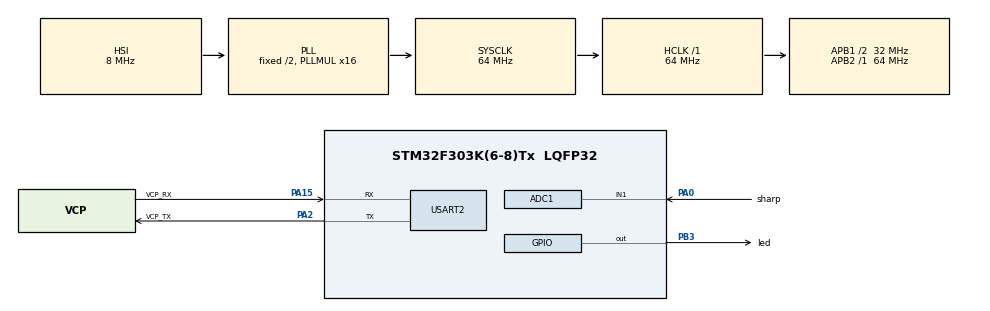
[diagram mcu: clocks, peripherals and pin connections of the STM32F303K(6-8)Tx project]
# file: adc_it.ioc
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ADC1.Channel-0\#ChannelRegularConversion=ADC_CHANNEL_1
ADC1.ClockPrescaler=ADC_CLOCK_ASYNC_DIV1
ADC1.ContinuousConvMode=DISABLE
ADC1.DMAContinuousRequests=DISABLE
ADC1.DataAlign=ADC_DATAALIGN_RIGHT
ADC1.DiscontinuousConvMode=DISABLE
ADC1.EOCSelection=ADC_EOC_SINGLE_CONV
ADC1.EnableAnalogWatchDog1=false
ADC1.EnableAnalogWatchDog2=false
ADC1.EnableAnalogWatchDog3=false
ADC1.EnableInjectedConversion=ENABLE
ADC1.EnableRegularConversion=ENABLE
ADC1.ExternalTrigConv=ADC_SOFTWARE_START
ADC1.ExternalTrigConvEdge=ADC_EXTERNALTRIGCONVEDGE_NONE
ADC1.InjNumberOfConversion=0
ADC1.LowPowerAutoWait=DISABLE
ADC1.NbrOfConversion=1
ADC1.NbrOfConversionFlag=1
ADC1.Offset-0\#ChannelRegularConversion=0
ADC1.OffsetNumber-0\#ChannelRegularConversion=ADC_OFFSET_NONE
ADC1.Overrun=ADC_OVR_DATA_OVERWRITTEN
ADC1.Rank-0\#ChannelRegularConversion=1
ADC1.Resolution=ADC_RESOLUTION_12B
ADC1.SamplingTime-0\#ChannelRegularConversion=ADC_SAMPLETIME_7CYCLES_5
ADC1.ScanConvMode=ADC_SCAN_DISABLE
ADC1.SubFamily=STM32F303x8
ADC1.master=1
FREERTOS.Tasks01=defaultTask,0,128,StartDefaultTask,Default,NULL,Dynamic,NULL,NULL;adc_control,-3,512,adcCmd,As weak,NULL,Dynamic,NULL,NULL
FREERTOS.configTOTAL_HEAP_SIZE=9216
Mcu.Family=STM32F3
Mcu.Name=STM32F303K(6-8)Tx
Mcu.Package=LQFP32
NVIC.ADC1_2_IRQn=true\:5\:0\:false\:false\:true\:true
NVIC.PriorityGroup=NVIC_PRIORITYGROUP_4
NVIC.TIM1_BRK_TIM15_IRQn=true\:0\:0\:false\:false\:true\:false
NVIC.TimeBase=TIM1_BRK_TIM15_IRQn
NVIC.TimeBaseIP=TIM15
PA0.GPIO_Label=sharp
PA0.Mode=IN1-Single-Ended
PA0.Signal=ADC1_IN1
PA13.GPIO_Label=SWDIO
PA13.Signal=SYS_JTMS-SWDIO
PA14.GPIO_Label=SWCLK
PA14.Signal=SYS_JTCK-SWCLK
PA15.GPIO_Label=VCP_RX
PA15.Mode=Asynchronous
PA15.Signal=USART2_RX
PA2.GPIO_Label=VCP_TX
PA2.Mode=Asynchronous
PA2.Signal=USART2_TX
PB3.GPIO_Label=led
PB3.Signal=GPIO_Output
PF0\ /\ OSC_IN.GPIO_Label=MCO
PF0\ /\ OSC_IN.Signal=RCC_OSC_IN
ProjectManager.HeapSize=0x200
ProjectManager.StackSize=0x400
ProjectManager.TargetToolchain=Makefile
RCC.AHBFreq_Value=64000000
RCC.APB1CLKDivider=RCC_HCLK_DIV2
RCC.APB1Freq_Value=32000000
RCC.APB1TimFreq_Value=64000000
RCC.APB2Freq_Value=64000000
RCC.APB2TimFreq_Value=64000000
RCC.CortexFreq_Value=64000000
RCC.HCLKFreq_Value=64000000
RCC.HSE_VALUE=8000000
RCC.HSI_VALUE=8000000
RCC.PLLMUL=RCC_PLL_MUL16
RCC.SYSCLKFreq_VALUE=64000000
RCC.SYSCLKSourceVirtual=RCC_SYSCLKSOURCE_PLLCLK
USART2.VirtualMode-Asynchronous=VM_ASYNC
USART2.WordLength=WORDLENGTH_8B
VP_FREERTOS_VS_ENABLE.Mode=Enabled
VP_SYS_VS_tim15.Mode=TIM15
board=NUCLEO-F303K8

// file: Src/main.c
/**
  ******************************************************************************
  * File Name          : main.c
  * Description        : Main program body
  ******************************************************************************
  * This notice applies to any and all portions of this file
  * that are not between comment pairs USER CODE BEGIN and
  * USER CODE END. Other portions of this file, whether
  * inserted by the user or by software development tools
  * are owned by their respective copyright owners.
  *
  * Copyright (c) 2017 STMicroelectronics International N.V.
  * All rights reserved.
  *
  * Redistribution and use in source and binary forms, with or without
  * modification, are permitted, provided that the following conditions are met:
  *
  * 1. Redistribution of source code must retain the above copyright notice,
  *    this list of conditions and the following disclaimer.
  * 2. Redistributions in binary form must reproduce the above copyright notice,
  *    this list of conditions and the following disclaimer in the documentation
  *    and/or other materials provided with the distribution.
  * 3. Neither the name of STMicroelectronics nor the names of other
  *    contributors to this software may be used to endorse or promote products
  *    derived from this software without specific written permission.
  * 4. This software, including modifications and/or derivative works of this
  *    software, must execute solely and exclusively on microcontroller or
  *    microprocessor devices manufactured by or for STMicroelectronics.
  * 5. Redistribution and use of this software other than as permitted under
  *    this license is void and will automatically terminate your rights under
  *    this license.
  *
  * THIS SOFTWARE IS PROVIDED BY STMICROELECTRONICS AND CONTRIBUTORS "AS IS"
  * AND ANY EXPRESS, IMPLIED OR STATUTORY WARRANTIES, INCLUDING, BUT NOT
  * LIMITED TO, THE IMPLIED WARRANTIES OF MERCHANTABILITY, FITNESS FOR A
  * PARTICULAR PURPOSE AND NON-INFRINGEMENT OF THIRD PARTY INTELLECTUAL PROPERTY
  * RIGHTS ARE DISCLAIMED TO THE FULLEST EXTENT PERMITTED BY LAW. IN NO EVENT
  * SHALL STMICROELECTRONICS OR CONTRIBUTORS BE LIABLE FOR ANY DIRECT, INDIRECT,
  * INCIDENTAL, SPECIAL, EXEMPLARY, OR CONSEQUENTIAL DAMAGES (INCLUDING, BUT NOT
  * LIMITED TO, PROCUREMENT OF SUBSTITUTE GOODS OR SERVICES; LOSS OF USE, DATA,
  * OR PROFITS; OR BUSINESS INTERRUPTION) HOWEVER CAUSED AND ON ANY THEORY OF
  * LIABILITY, WHETHER IN CONTRACT, STRICT LIABILITY, OR TORT (INCLUDING
  * NEGLIGENCE OR OTHERWISE) ARISING IN ANY WAY OUT OF THE USE OF THIS SOFTWARE,
  * EVEN IF ADVISED OF THE POSSIBILITY OF SUCH DAMAGE.
  *
  ******************************************************************************
  */
#include "main.h"
#include "stm32f3xx_hal.h"
#include "cmsis_os.h"

ADC_HandleTypeDef hadc1;

UART_HandleTypeDef huart2;

osThreadId defaultTaskHandle;
osThreadId adc_controlHandle;

/* USER CODE BEGIN PV */
/* Private variables ---------------------------------------------------------*/

/* USER CODE END PV */

void SystemClock_Config(void);
static void MX_GPIO_Init(void);
static void MX_USART2_UART_Init(void);
static void MX_ADC1_Init(void);
void StartDefaultTask(void const * argument);
void adcCmd(void const * argument);

/* USER CODE BEGIN PFP */
/* Private function prototypes -----------------------------------------------*/

/* USER CODE END PFP */

int main(void)
{

  /* MCU Configuration----------------------------------------------------------*/

  /* Reset of all peripherals, Initializes the Flash interface and the Systick. */
  HAL_Init();

  /* Configure the system clock */
  SystemClock_Config();

  /* Initialize all configured peripherals */
  MX_GPIO_Init();
  MX_USART2_UART_Init();
  MX_ADC1_Init();

  /* Create the thread(s) */
  /* definition and creation of defaultTask */
  osThreadDef(defaultTask, StartDefaultTask, osPriorityNormal, 0, 128);
  defaultTaskHandle = osThreadCreate(osThread(defaultTask), NULL);

  /* definition and creation of adc_control */
  osThreadDef(adc_control, adcCmd, osPriorityIdle, 0, 512);
  adc_controlHandle = osThreadCreate(osThread(adc_control), NULL);

  /* Start scheduler */
  osKernelStart();

  /* We should never get here as control is now taken by the scheduler */

  /* Infinite loop */
  while (1)
  {

  }

}

/** System Clock Configuration
*/
void SystemClock_Config(void)
{

  RCC_OscInitTypeDef RCC_OscInitStruct;
  RCC_ClkInitTypeDef RCC_ClkInitStruct;
  RCC_PeriphCLKInitTypeDef PeriphClkInit;

    /**Initializes the CPU, AHB and APB busses clocks
    */
  RCC_OscInitStruct.OscillatorType = RCC_OSCILLATORTYPE_HSI;
  RCC_OscInitStruct.HSIState = RCC_HSI_ON;
  RCC_OscInitStruct.HSICalibrationValue = 16;
  RCC_OscInitStruct.PLL.PLLState = RCC_PLL_ON;
  RCC_OscInitStruct.PLL.PLLSource = RCC_PLLSOURCE_HSI;
  RCC_OscInitStruct.PLL.PLLMUL = RCC_PLL_MUL16;
  if (HAL_RCC_OscConfig(&RCC_OscInitStruct) != HAL_OK)
  {
    _Error_Handler(__FILE__, __LINE__);
  }

    /**Initializes the CPU, AHB and APB busses clocks
    */
  RCC_ClkInitStruct.ClockType = RCC_CLOCKTYPE_HCLK|RCC_CLOCKTYPE_SYSCLK
                              |RCC_CLOCKTYPE_PCLK1|RCC_CLOCKTYPE_PCLK2;
  RCC_ClkInitStruct.SYSCLKSource = RCC_SYSCLKSOURCE_PLLCLK;
  RCC_ClkInitStruct.AHBCLKDivider = RCC_SYSCLK_DIV1;
  RCC_ClkInitStruct.APB1CLKDivider = RCC_HCLK_DIV2;
  RCC_ClkInitStruct.APB2CLKDivider = RCC_HCLK_DIV1;

  if (HAL_RCC_ClockConfig(&RCC_ClkInitStruct, FLASH_LATENCY_2) != HAL_OK)
  {
    _Error_Handler(__FILE__, __LINE__);
  }

  PeriphClkInit.PeriphClockSelection = RCC_PERIPHCLK_ADC12;
  PeriphClkInit.Adc12ClockSelection = RCC_ADC12PLLCLK_DIV1;
  if (HAL_RCCEx_PeriphCLKConfig(&PeriphClkInit) != HAL_OK)
  {
    _Error_Handler(__FILE__, __LINE__);
  }

    /**Configure the Systick interrupt time
    */
  HAL_SYSTICK_Config(HAL_RCC_GetHCLKFreq()/1000);

    /**Configure the Systick
    */
  HAL_SYSTICK_CLKSourceConfig(SYSTICK_CLKSOURCE_HCLK);

  /* SysTick_IRQn interrupt configuration */
  HAL_NVIC_SetPriority(SysTick_IRQn, 15, 0);
}

/* ADC1 init function */
static void MX_ADC1_Init(void)
{

  ADC_MultiModeTypeDef multimode;
  ADC_ChannelConfTypeDef sConfig;

    /**Common config
    */
  hadc1.Instance = ADC1;
  hadc1.Init.ClockPrescaler = ADC_CLOCK_ASYNC_DIV1;
  hadc1.Init.Resolution = ADC_RESOLUTION_12B;
  hadc1.Init.ScanConvMode = ADC_SCAN_DISABLE;
  hadc1.Init.ContinuousConvMode = DISABLE;
  hadc1.Init.DiscontinuousConvMode = DISABLE;
  hadc1.Init.ExternalTrigConvEdge = ADC_EXTERNALTRIGCONVEDGE_NONE;
  hadc1.Init.ExternalTrigConv = ADC_SOFTWARE_START;
  hadc1.Init.DataAlign = ADC_DATAALIGN_RIGHT;
  hadc1.Init.NbrOfConversion = 1;
  hadc1.Init.DMAContinuousRequests = DISABLE;
  hadc1.Init.EOCSelection = ADC_EOC_SINGLE_CONV;
  hadc1.Init.LowPowerAutoWait = DISABLE;
  hadc1.Init.Overrun = ADC_OVR_DATA_OVERWRITTEN;
  if (HAL_ADC_Init(&hadc1) != HAL_OK)
  {
    _Error_Handler(__FILE__, __LINE__);
  }

    /**Configure the ADC multi-mode
    */
  multimode.Mode = ADC_MODE_INDEPENDENT;
  if (HAL_ADCEx_MultiModeConfigChannel(&hadc1, &multimode) != HAL_OK)
  {
    _Error_Handler(__FILE__, __LINE__);
  }

    /**Configure Regular Channel
    */
  sConfig.Channel = ADC_CHANNEL_1;
  sConfig.Rank = 1;
  sConfig.SingleDiff = ADC_SINGLE_ENDED;
  sConfig.SamplingTime = ADC_SAMPLETIME_7CYCLES_5;
  sConfig.OffsetNumber = ADC_OFFSET_NONE;
  sConfig.Offset = 0;
  if (HAL_ADC_ConfigChannel(&hadc1, &sConfig) != HAL_OK)
  {
    _Error_Handler(__FILE__, __LINE__);
  }

}

/* USART2 init function */
static void MX_USART2_UART_Init(void)
{

  huart2.Instance = USART2;
  huart2.Init.BaudRate = 38400;
  huart2.Init.WordLength = UART_WORDLENGTH_8B;
  huart2.Init.StopBits = UART_STOPBITS_1;
  huart2.Init.Parity = UART_PARITY_NONE;
  huart2.Init.Mode = UART_MODE_TX_RX;
  huart2.Init.HwFlowCtl = UART_HWCONTROL_NONE;
  huart2.Init.OverSampling = UART_OVERSAMPLING_16;
  huart2.Init.OneBitSampling = UART_ONE_BIT_SAMPLE_DISABLE;
  huart2.AdvancedInit.AdvFeatureInit = UART_ADVFEATURE_NO_INIT;
  if (HAL_UART_Init(&huart2) != HAL_OK)
  {
    _Error_Handler(__FILE__, __LINE__);
  }

}

/** Configure pins as
        * Analog
        * Input
        * Output
        * EVENT_OUT
        * EXTI
*/
static void MX_GPIO_Init(void)
{

  GPIO_InitTypeDef GPIO_InitStruct;

  /* GPIO Ports Clock Enable */
  __HAL_RCC_GPIOF_CLK_ENABLE();
  __HAL_RCC_GPIOA_CLK_ENABLE();
  __HAL_RCC_GPIOB_CLK_ENABLE();

  /*Configure GPIO pin Output Level */
  HAL_GPIO_WritePin(led_GPIO_Port, led_Pin, GPIO_PIN_RESET);

  /*Configure GPIO pin : led_Pin */
  GPIO_InitStruct.Pin = led_Pin;
  GPIO_InitStruct.Mode = GPIO_MODE_OUTPUT_PP;
  GPIO_InitStruct.Pull = GPIO_NOPULL;
  GPIO_InitStruct.Speed = GPIO_SPEED_FREQ_LOW;
  HAL_GPIO_Init(led_GPIO_Port, &GPIO_InitStruct);

}

/* StartDefaultTask function */
void StartDefaultTask(void const * argument)
{

  /* USER CODE BEGIN 5 */
  /* Infinite loop */
  for(;;)
  {
    HAL_GPIO_TogglePin(led_GPIO_Port, led_Pin);
    osDelay(1000);
  }
  /* USER CODE END 5 */
}

/* adcCmd function */
__weak void adcCmd(void const * argument)
{
  for(;;)
  {
    osDelay(1);
  }
}

void HAL_TIM_PeriodElapsedCallback(TIM_HandleTypeDef *htim)
{
  if (htim->Instance == TIM15) {
    HAL_IncTick();
  }
}

void _Error_Handler(char * file, int line)
{
  while(1)
  {
  }
}

/************************ (C) COPYRIGHT STMicroelectronics *****END OF FILE****/

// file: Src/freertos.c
/**
  ******************************************************************************
  * File Name          : freertos.c
  * Description        : Code for freertos applications
  ******************************************************************************
  * This notice applies to any and all portions of this file
  * that are not between comment pairs USER CODE BEGIN and
  * USER CODE END. Other portions of this file, whether
  * inserted by the user or by software development tools
  * are owned by their respective copyright owners.
  *
  * Copyright (c) 2017 STMicroelectronics International N.V.
  * All rights reserved.
  *
  * Redistribution and use in source and binary forms, with or without
  * modification, are permitted, provided that the following conditions are met:
  *
  * 1. Redistribution of source code must retain the above copyright notice,
  *    this list of conditions and the following disclaimer.
  * 2. Redistributions in binary form must reproduce the above copyright notice,
  *    this list of conditions and the following disclaimer in the documentation
  *    and/or other materials provided with the distribution.
  * 3. Neither the name of STMicroelectronics nor the names of other
  *    contributors to this software may be used to endorse or promote products
  *    derived from this software without specific written permission.
  * 4. This software, including modifications and/or derivative works of this
  *    software, must execute solely and exclusively on microcontroller or
  *    microprocessor devices manufactured by or for STMicroelectronics.
  * 5. Redistribution and use of this software other than as permitted under
  *    this license is void and will automatically terminate your rights under
  *    this license.
  *
  * THIS SOFTWARE IS PROVIDED BY STMICROELECTRONICS AND CONTRIBUTORS "AS IS"
  * AND ANY EXPRESS, IMPLIED OR STATUTORY WARRANTIES, INCLUDING, BUT NOT
  * LIMITED TO, THE IMPLIED WARRANTIES OF MERCHANTABILITY, FITNESS FOR A
  * PARTICULAR PURPOSE AND NON-INFRINGEMENT OF THIRD PARTY INTELLECTUAL PROPERTY
  * RIGHTS ARE DISCLAIMED TO THE FULLEST EXTENT PERMITTED BY LAW. IN NO EVENT
  * SHALL STMICROELECTRONICS OR CONTRIBUTORS BE LIABLE FOR ANY DIRECT, INDIRECT,
  * INCIDENTAL, SPECIAL, EXEMPLARY, OR CONSEQUENTIAL DAMAGES (INCLUDING, BUT NOT
  * LIMITED TO, PROCUREMENT OF SUBSTITUTE GOODS OR SERVICES; LOSS OF USE, DATA,
  * OR PROFITS; OR BUSINESS INTERRUPTION) HOWEVER CAUSED AND ON ANY THEORY OF
  * LIABILITY, WHETHER IN CONTRACT, STRICT LIABILITY, OR TORT (INCLUDING
  * NEGLIGENCE OR OTHERWISE) ARISING IN ANY WAY OUT OF THE USE OF THIS SOFTWARE,
  * EVEN IF ADVISED OF THE POSSIBILITY OF SUCH DAMAGE.
  *
  ******************************************************************************
  */

#include "FreeRTOS.h"
#include "task.h"

/* USER CODE BEGIN Includes */
#include "stm32f3xx_hal.h"
#include "cmsis_os.h"
#include "main.h"
/* USER CODE END Includes */

/* USER CODE BEGIN Variables */
extern ADC_HandleTypeDef hadc1;
extern UART_HandleTypeDef huart2;

int flag = 0;
uint32_t adcValue = 0;
/* USER CODE END Variables */

/* USER CODE BEGIN FunctionPrototypes */

void HAL_ADC_ConvCpltCallback(ADC_HandleTypeDef *hadc) {
    UNUSED(hadc);
    adcValue = HAL_ADC_GetValue(hadc);
    flag = 1;
}

int _write(int file, char *ptr, int len) {
    UNUSED(file);

    HAL_UART_Transmit(&huart2, (uint8_t *) ptr, (uint16_t) len, 10000);
    return len;
}

/* USER CODE END FunctionPrototypes */

/* Hook prototypes */

/* USER CODE BEGIN Application */
void adcCmd(void const * argument)
{
  /* USER CODE BEGIN adcCmd */
  /* Infinite loop */
  for(;;)
  {
    HAL_ADC_Start_IT(&hadc1);
    osDelay(1000);
    if (flag == 1) {
        printf("Value : %lu\n\r", adcValue);
        flag = 0;
    }
  }
  /* USER CODE END adcCmd */
}

/* USER CODE END Application */

/************************ (C) COPYRIGHT STMicroelectronics *****END OF FILE****/
